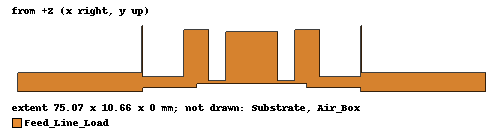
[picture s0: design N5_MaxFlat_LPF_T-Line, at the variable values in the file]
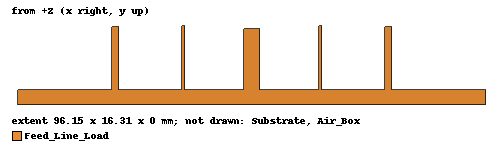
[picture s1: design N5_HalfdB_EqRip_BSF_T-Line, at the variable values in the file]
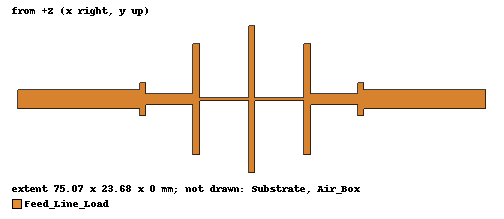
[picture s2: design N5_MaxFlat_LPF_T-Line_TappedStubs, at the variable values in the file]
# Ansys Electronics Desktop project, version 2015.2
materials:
  vacuum: permittivity=1
  FR4: permittivity=4.1 dielectric_loss_tangent=0.01
  copper: permeability=0.999991 conductivity=58000000

design N5_MaxFlat_LPF_T-Line (HFSS, DrivenModal, model units mm)
options: Calculate_Lossy_Dielectrics
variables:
  w0 = 3.127929688mm
  UE_L = (17.8/2) mm
  sub_h = 62mil
  Cal_d = 15mm
  wUE1 = 0.53918457mm
  wUE2 = 0.53918457mm
  wUE3 = 1.759216309mm
  wUE4 = 1.759216309mm
  w1 = 0.084247589mm
  L1 = 9.095630686mm
  w2 = 3.961914063mm
  L2 = 8.351079193mm
  w3 = 8.396484375mm
  L3 = 8.042756816mm
  w4 = 3.961914063mm
  L4 = 8.351079193mm
  w5 = 0.084247589mm
  L5 = 9.095630686mm
  UE_L1 = 8.897579027mm
  UE_L2 = 8.897579027mm
  UE_L3 = 8.635694914mm
  UE_L4 = 8.635694914mm
  Line_L = 5mm
  _UE_L4 = 20mm
  Edge_d = 10mm
  Air_d = 10mm
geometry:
  Feed_Line_Source = rectangle(corner=(UE_L2+UE_L4, -w0/2, sub_h), x_size=Cal_d+Line_L, y_size=w0)
  Feed_Line_Load = rectangle(corner=(-(UE_L2+UE_L4), -w0/2, sub_h), x_size=-(Cal_d+Line_L), y_size=w0)
  Unit_Element_1 = rectangle(corner=(0mm, -wUE1/2, sub_h), x_size=UE_L1, y_size=wUE1)
  Unit_Element_2 = rectangle(corner=(0mm, -wUE2/2, sub_h), x_size=-UE_L2, y_size=wUE2)
  Unit_Element_3 = rectangle(corner=(UE_L1, -wUE3/2, sub_h), x_size=UE_L3, y_size=wUE3)
  Unit_Element_4 = rectangle(corner=(-UE_L2, -wUE4/2, sub_h), x_size=-UE_L4, y_size=wUE4)
  OCStub_1 = rectangle(corner=(UE_L1+UE_L3-w1/2, 0mm, sub_h), x_size=w1, y_size=L1)
  OCStub_2 = rectangle(corner=(UE_L1-w2/2, 0mm, sub_h), x_size=w2, y_size=L2)
  OCStub_3 = rectangle(corner=(-w3/2, 0mm, sub_h), x_size=w3, y_size=L3)
  OCStub_4 = rectangle(corner=(-(UE_L2-w4/2), 0mm, sub_h), x_size=-w4, y_size=L4)
  OCStub_5 = rectangle(corner=(-(UE_L2+UE_L4-w5/2), 0mm, sub_h), x_size=-w5, y_size=L5)
  Substrate [FR4] = box(corner=(-(UE_L2+UE_L4+cal_d+Line_L), -(w0/2+Edge_d), 0mm), size=(UE_L1+UE_L2+UE_L3+UE_L4+2*(cal_d+Line_L), w0+UE_L4+2*Edge_d, sub_h))
  Air_Box [vacuum] = box(corner=(-(UE_L2+UE_L4+cal_d+Line_L), -(w0/2+Edge_d), SUB_H), size=(UE_L1+UE_L2+UE_L3+UE_L4+2*(cal_d+Line_L), w0+UE_L4+2*Edge_d, Air_d))
  Feed_Line_Load.unite(Unit_Element_4, Unit_Element_3, Unit_Element_2, Unit_Element_1, OCStub_5, OCStub_4, OCStub_3, OCStub_2, OCStub_1, Feed_Line_Source)
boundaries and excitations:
  Metal: Finite Conductivity Objects=Feed_Line_Load UseMaterial Material=copper
  Rad: Radiation Faces=Substrate.face(-y, +y) Air_Box.face(+z, -y, +y)
  1: Wave Port Faces=Substrate.face(+x) Air_Box.face(+x) NumModes=1 DeembedDist=15mm Modes{Mode1{CharImp=Zpi}}
  2: Wave Port Faces=Substrate.face(-x) Air_Box.face(-x) NumModes=1 DeembedDist=15mm Modes{Mode1{CharImp=Zpi}}
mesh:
  initial mesh: GlobalSurfApproximation{SurfDevChoice=0 NormalDevChoice=1 AspectRatioChoice=1 SetFacePreservationLevel=0}
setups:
  Setup1: HfssDriven Frequency=2.5GHz MaxDeltaS=0.01 MaximumPasses=20 MinimumPasses=1 MinimumConvergedPasses=1 PercentRefinement=30 BasisOrder=1 PortAccuracy=2
    sweep Sweep: 1GHz to 5GHz step 0.001GHz; Type=Interpolating InterpTolerance=0.5 InterpMaxSolns=250 InterpUsePortImped=false
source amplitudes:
  1:1: 1W 0deg
  2:1: 0W 0deg
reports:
  XY Plot 1: dB(S(Feed,Feed)), dB(S(Feed,Load)), dB(S(Load,Feed)), dB(S(Load,Load)) vs Freq on Setup1 : Sweep; markers m1 at 2.5GHz, m2 at 3.25GHz
  S11_S21_dB: dB(S(1,1)), dB(S(2,1)) vs Freq on Setup1 : Sweep
  S11_S21_phase: ang_deg(S(1,1)), ang_deg(S(2,1)) vs Freq on Setup1 : Sweep

design N5_HalfdB_EqRip_BSF_T-Line (HFSS, DrivenModal, model units mm)
options: Calculate_Lossy_Dielectrics
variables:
  w0 = 3.115234375mm
  UE_L = 14.03649576mm
  sub_h = 62mil
  Cal_d = 15mm
  wUE1 = w0
  wUE2 = w0
  wUE3 = w0
  wUE4 = w0
  w1 = 1.477783203mm
  L1 = 14.45057684mm
  w2 = 0.666625977mm
  L2 = 14.75140979mm
  w3 = 3.115234375mm
  L3 = 14.03649576mm
  w4 = 0.666625977mm
  L4 = 14.75140979mm
  w5 = 1.477783203mm
  L5 = 14.45057684mm
  UE_L1 = UE_L
  UE_L2 = UE_L
  UE_L3 = UE_L
  UE_L4 = UE_L
  Line_L = 5mm
  Edge_d = 10mm
  Air_d = 10mm
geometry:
  Feed_Line_Source = rectangle(corner=(UE_L2+UE_L4, -w0/2, sub_h), x_size=Cal_d+Line_L, y_size=w0)
  Feed_Line_Load = rectangle(corner=(-(UE_L2+UE_L4), -w0/2, sub_h), x_size=-(Cal_d+Line_L), y_size=w0)
  Unit_Element_1 = rectangle(corner=(0mm, -wUE1/2, sub_h), x_size=UE_L1, y_size=wUE1)
  Unit_Element_2 = rectangle(corner=(0mm, -wUE2/2, sub_h), x_size=-UE_L2, y_size=wUE2)
  Unit_Element_3 = rectangle(corner=(UE_L1, -wUE3/2, sub_h), x_size=UE_L3, y_size=wUE3)
  Unit_Element_4 = rectangle(corner=(-UE_L2, -wUE4/2, sub_h), x_size=-UE_L4, y_size=wUE4)
  OCStub_1 = rectangle(corner=(UE_L1+UE_L3-w1/2, 0mm, sub_h), x_size=w1, y_size=L1)
  OCStub_2 = rectangle(corner=(UE_L1-w2/2, 0mm, sub_h), x_size=w2, y_size=L2)
  OCStub_3 = rectangle(corner=(-w3/2, 0mm, sub_h), x_size=w3, y_size=L3)
  OCStub_4 = rectangle(corner=(-(UE_L2-w4/2), 0mm, sub_h), x_size=-w4, y_size=L4)
  OCStub_5 = rectangle(corner=(-(UE_L2+UE_L4-w5/2), 0mm, sub_h), x_size=-w5, y_size=L5)
  Substrate [FR4] = box(corner=(-(UE_L2+UE_L4+cal_d+Line_L), -(w0/2+Edge_d), 0mm), size=(UE_L1+UE_L2+UE_L3+UE_L4+2*(cal_d+Line_L), w0+UE_L4+2*Edge_d, sub_h))
  Air_Box [vacuum] = box(corner=(-(UE_L2+UE_L4+cal_d+Line_L), -(w0/2+Edge_d), SUB_H), size=(UE_L1+UE_L2+UE_L3+UE_L4+2*(cal_d+Line_L), w0+UE_L4+2*Edge_d, Air_d))
  Feed_Line_Load.unite(Unit_Element_4, Unit_Element_3, Unit_Element_2, Unit_Element_1, OCStub_5, OCStub_4, OCStub_3, OCStub_2, OCStub_1, Feed_Line_Source)
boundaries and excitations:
  Metal: Finite Conductivity Objects=Feed_Line_Load UseMaterial Material=copper
  Rad: Radiation Faces=Substrate.face(-y, +y) Air_Box.face(+z, -y, +y)
  1: Wave Port Faces=Substrate.face(+x) Air_Box.face(+x) NumModes=1 DeembedDist=15mm Modes{Mode1{CharImp=Zpi}}
  2: Wave Port Faces=Substrate.face(-x) Air_Box.face(-x) NumModes=1 DeembedDist=15mm Modes{Mode1{CharImp=Zpi}}
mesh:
  initial mesh: GlobalSurfApproximation{SurfDevChoice=0 NormalDevChoice=1 AspectRatioChoice=1 SetFacePreservationLevel=0}
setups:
  Setup1: HfssDriven Frequency=2.5GHz MaxDeltaS=0.01 MaximumPasses=20 MinimumPasses=1 MinimumConvergedPasses=1 PercentRefinement=30 BasisOrder=1 PortAccuracy=2
    sweep Sweep: 1GHz to 5GHz step 0.001GHz; Type=Interpolating InterpTolerance=0.5 InterpMaxSolns=250 InterpUsePortImped=false
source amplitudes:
  1:1: 1W 0deg
  2:1: 0W 0deg
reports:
  S_Parameters_dB: dB(S(Feed,Feed)), dB(S(Feed,Load)), dB(S(Load,Feed)), dB(S(Load,Load)) vs Freq on Setup1 : Sweep; markers m1 at 2.5GHz, m2 at 3.25GHz
  S11_S21_dB: dB(S(1,1)), dB(S(2,1)) vs Freq on Setup1 : Sweep
  S11_S21_phase: ang_deg(S(1,1)), ang_deg(S(2,1)) vs Freq on Setup1 : Sweep

design N5_MaxFlat_LPF_T-Line_TappedStubs (HFSS, DrivenModal, model units mm)
options: Calculate_Lossy_Dielectrics
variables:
  UE_L = (17.8/2) mm
  w0 = 3.127929688mm
  sub_h = 62mil
  Cal_d = 15mm
  wUE1 = 0.53918457mm
  wUE2 = 0.53918457mm
  wUE3 = 1.759216309mm
  wUE4 = 1.759216309mm
  UE_L1 = 8.897579027mm
  UE_L2 = 8.897579027mm
  UE_L3 = 8.635694914mm
  UE_L4 = 8.635694914mm
  w1 = 1mm
  L1 = 2.695307418mm
  w2 = 1mm
  L2 = 8.972416382mm
  w3 = 1mm
  L3 = 11.83912203mm
  w4 = 1mm
  L4 = 8.972416382mm
  w5 = 1mm
  L5 = 2.695307418mm
  Line_L = 5mm
  _UE_L4 = 10mm
  Edge_d = 10mm
  Air_d = 10mm
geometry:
  Feed_Line_Source = rectangle(corner=(UE_L2+UE_L4, -w0/2, sub_h), x_size=Cal_d+Line_L, y_size=w0)
  Feed_Line_Load = rectangle(corner=(-(UE_L2+UE_L4), -w0/2, sub_h), x_size=-(Cal_d+Line_L), y_size=w0)
  Unit_Element_1 = rectangle(corner=(0mm, -wUE1/2, sub_h), x_size=UE_L1, y_size=wUE1)
  Unit_Element_2 = rectangle(corner=(0mm, -wUE2/2, sub_h), x_size=-UE_L2, y_size=wUE2)
  Unit_Element_3 = rectangle(corner=(UE_L1, -wUE3/2, sub_h), x_size=UE_L3, y_size=wUE3)
  Unit_Element_4 = rectangle(corner=(-UE_L2, -wUE4/2, sub_h), x_size=-UE_L4, y_size=wUE4)
  OCStub_1_1 = rectangle(corner=(UE_L1+UE_L3-w1/2, 0mm, sub_h), x_size=w1, y_size=L1)
  OCStub_2_1 = rectangle(corner=(UE_L1-w2/2, 0mm, sub_h), x_size=w2, y_size=L2)
  OCStub_3_1 = rectangle(corner=(-w3/2, 0mm, sub_h), x_size=w3, y_size=L3)
  OCStub_4_1 = rectangle(corner=(-(UE_L2-w4/2), 0mm, sub_h), x_size=-w4, y_size=L4)
  OCStub_5_1 = rectangle(corner=(-(UE_L2+UE_L4-w5/2), 0mm, sub_h), x_size=-w5, y_size=L5)
  Substrate [FR4] = box(corner=(-(UE_L2+UE_L4+cal_d+Line_L), -(w0/2+Edge_d+UE_L), 0mm), size=(UE_L1+UE_L2+UE_L3+UE_L4+2*(cal_d+Line_L), w0+2*UE_L+2*Edge_d, sub_h))
  Air_Box [vacuum] = box(corner=(-(UE_L2+UE_L4+cal_d+Line_L), -(w0/2+Edge_d+UE_L), sub_h), size=(UE_L1+UE_L2+UE_L3+UE_L4+2*(cal_d+Line_L), w0+2*UE_L+2*Edge_d, Air_d))
  OCStub_3_2 = rectangle(corner=(-w3/2, 0mm, sub_h), x_size=w3, y_size=-L3)
  OCStub_2_2 = rectangle(corner=(UE_L1-w2/2, 0mm, sub_h), x_size=w2, y_size=-L2)
  OCStub_4_2 = rectangle(corner=(-(UE_L2-w4/2), 0mm, sub_h), x_size=-w4, y_size=-L4)
  OCStub_1_2 = rectangle(corner=(UE_L1+UE_L3-w1/2, 0mm, sub_h), x_size=w1, y_size=-L1)
  OCStub_5_2 = rectangle(corner=(-(UE_L2+UE_L4-w5/2), 0mm, sub_h), x_size=-w5, y_size=-L5)
  Feed_Line_Load.unite(Feed_Line_Source, OCStub_1_1, OCStub_1_2, OCStub_2_1, OCStub_2_2, OCStub_3_1, OCStub_3_2, OCStub_4_1, OCStub_4_2, OCStub_5_1, OCStub_5_2, Unit_Element_1..Unit_Element_4)
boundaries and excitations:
  Metal: Finite Conductivity Objects=Feed_Line_Load UseMaterial Material=copper
  Rad: Radiation Faces=Substrate.face(-y, +y) Air_Box.face(+z, -y, +y)
  1: Wave Port Faces=Substrate.face(+x) Air_Box.face(+x) NumModes=1 DeembedDist=15mm Modes{Mode1{CharImp=Zpi}}
  2: Wave Port Faces=Substrate.face(-x) Air_Box.face(-x) NumModes=1 DeembedDist=15mm Modes{Mode1{CharImp=Zpi}}
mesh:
  initial mesh: GlobalSurfApproximation{SurfDevChoice=0 NormalDevChoice=1 AspectRatioChoice=1 SetFacePreservationLevel=0}
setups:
  Setup1: HfssDriven Frequency=2.5GHz MaxDeltaS=0.01 MaximumPasses=20 MinimumPasses=1 MinimumConvergedPasses=1 PercentRefinement=30 BasisOrder=1 PortAccuracy=2
    sweep Sweep: 1GHz to 5GHz step 0.001GHz; Type=Interpolating InterpTolerance=0.5 InterpMaxSolns=250 InterpUsePortImped=false
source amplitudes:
  1:1: 1W 0deg
  2:1: 0W 0deg
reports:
  S_Parameters_dB: dB(S(Feed,Feed)), dB(S(Feed,Load)), dB(S(Load,Feed)), dB(S(Load,Load)) vs Freq on Setup1 : Sweep; markers m1 at 2.499GHz, m2 at 3.25GHz
  S11_S21_dB: dB(S(1,1)), dB(S(2,1)) vs Freq on Setup1 : Sweep
  S11_S21_phase: ang_deg(S(1,1)), ang_deg(S(2,1)) vs Freq on Setup1 : Sweep
